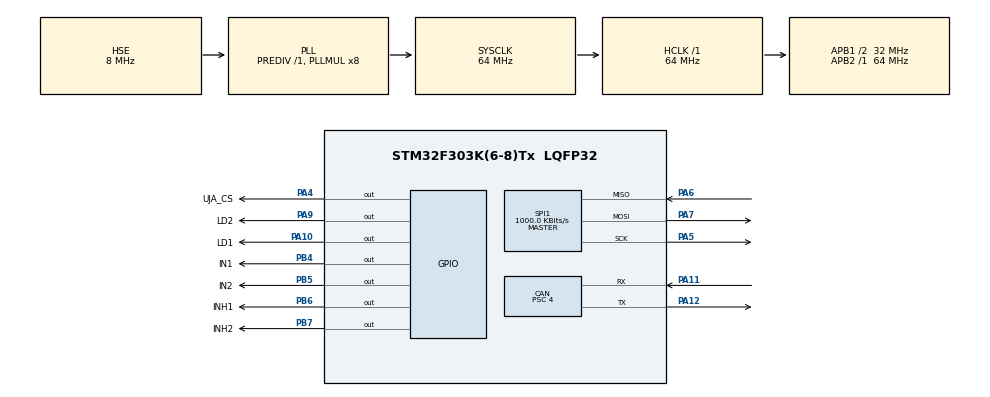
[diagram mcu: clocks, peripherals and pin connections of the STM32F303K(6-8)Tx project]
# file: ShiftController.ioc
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Mcu.Family=STM32F3
PA6.Mode=Full_Duplex_Master
VP_SYS_VS_tim6.Mode=TIM6
RCC.CortexFreq_Value=64000000
PF0\ /\ OSC_IN.Mode=HSE-External-Oscillator
SPI1.VirtualType=VM_MASTER
NVIC.CAN_RX0_IRQn=true\:5\:0\:false\:false\:true\:true\:true\:true
RCC.SYSCLKSourceVirtual=RCC_SYSCLKSOURCE_PLLCLK
PB7.GPIO_FM7=SYSCFG_CFGR1_I2C_PB7_FMP
PA11.Mode=CAN_Activate
PB6.GPIO_Label=INH1
CAN.SJW=CAN_SJW_2TQ
NVIC.TIM6_DAC1_IRQn=true\:0\:0\:false\:false\:true\:false\:false\:true
ProjectManager.StackSize=0x400
VP_FREERTOS_VS_CMSIS_V2.Mode=CMSIS_V2
PA12.Signal=CAN_TX
CAN.Prescaler=4
SPI1.Direction=SPI_DIRECTION_2LINES
RCC.HCLKFreq_Value=64000000
RCC.APB2TimFreq_Value=64000000
PB6.Signal=GPIO_Output
SPI1.CalculateBaudRate=1000.0 KBits/s
RCC.AHBFreq_Value=64000000
RCC.HSE_VALUE=8000000
PB3.Mode=JTAG_4_pins
PA15.Mode=JTAG_4_pins
RCC.PLLMUL=RCC_PLL_MUL8
PA14.Mode=JTAG_4_pins
SPI1.DataSize=SPI_DATASIZE_8BIT
PA10.GPIO_Label=LD1
PB7.Signal=GPIO_Output
CAN.CalculateTimeQuantum=125.0
FREERTOS.configTOTAL_HEAP_SIZE=4200
PB7.GPIO_Label=INH2
Mcu.Package=LQFP32
PA6.Signal=SPI1_MISO
NVIC.TimeBase=TIM6_DAC1_IRQn
PB6.GPIO_FM6=SYSCFG_CFGR1_I2C_PB6_FMP
NVIC.TimeBaseIP=TIM6
PA10.Signal=GPIO_Output
PA15.Signal=SYS_JTDI
PB5.GPIO_Speed=GPIO_SPEED_FREQ_HIGH
PB5.GPIO_Label=IN2
RCC.APB1TimFreq_Value=64000000
SPI1.BaudRatePrescaler=SPI_BAUDRATEPRESCALER_64
PA4.GPIO_Label=UJA_CS
PB4.Signal=GPIO_Output
PA5.Mode=Full_Duplex_Master
PB7.GPIO_Speed=GPIO_SPEED_FREQ_HIGH
PB7.GPIO_PuPd=GPIO_PULLDOWN
RCC.PLLSourceVirtual=RCC_PLLSOURCE_HSE
NVIC.CAN_RX1_IRQn=true\:5\:0\:false\:false\:true\:true\:true\:true
FREERTOS.Tasks01=Shift,24,128,StartShift,Default,NULL,Dynamic,NULL,NULL;FeedWDG,40,128,StartFeedWDG,Default,NULL,Dynamic,NULL,NULL
PA7.Mode=Full_Duplex_Master
CAN.ABOM=ENABLE
CAN.CalculateBaudRate=1000000
PA9.GPIO_Label=LD2
PB6.GPIO_PuPd=GPIO_PULLDOWN
SPI1.CLKPhase=SPI_PHASE_2EDGE
RCC.APB1CLKDivider=RCC_HCLK_DIV2
CAN.CalculateTimeBit=1000.00
PA13.Signal=SYS_JTMS-SWDIO
CAN.BS2=CAN_BS2_2TQ
CAN.BS1=CAN_BS1_5TQ
ProjectManager.TargetToolchain=STM32CubeIDE
PA9.Signal=GPIO_Output
PB4.GPIO_PuPd=GPIO_PULLDOWN
PF1\ /\ OSC_OUT.Signal=RCC_OSC_OUT
PA5.Signal=SPI1_SCK
board=custom
NVIC.SPI1_IRQn=true\:5\:0\:false\:false\:true\:true\:true\:true
PB4.GPIO_Speed=GPIO_SPEED_FREQ_HIGH
RCC.APB2Freq_Value=64000000
PF0\ /\ OSC_IN.Signal=RCC_OSC_IN
PB4.GPIO_Label=IN1
SPI1.Mode=SPI_MODE_MASTER
PA13.Mode=JTAG_4_pins
Mcu.Name=STM32F303K(6-8)Tx
PB3.Signal=SYS_JTDO-TRACESWO
PA4.Signal=GPIO_Output
RCC.SYSCLKFreq_VALUE=64000000
PB5.Signal=GPIO_Output
PA12.Mode=CAN_Activate
PB5.GPIO_PuPd=GPIO_PULLDOWN
PA11.Signal=CAN_RX
PA14.Signal=SYS_JTCK-SWCLK
ProjectManager.HeapSize=0x200
RCC.HSI_VALUE=8000000
NVIC.PriorityGroup=NVIC_PRIORITYGROUP_4
PB6.GPIO_Speed=GPIO_SPEED_FREQ_HIGH
RCC.APB1Freq_Value=32000000
PF1\ /\ OSC_OUT.Mode=HSE-External-Oscillator
PA7.Signal=SPI1_MOSI

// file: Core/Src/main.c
/* USER CODE BEGIN Header */
/**
  ******************************************************************************
  * @file           : main.c
  * @brief          : Main program body
  ******************************************************************************
  * @attention
  *
  * <h2><center>&copy; Copyright (c) 2022 STMicroelectronics.
  * All rights reserved.</center></h2>
  *
  * This software component is licensed by ST under BSD 3-Clause license,
  * the "License"; You may not use this file except in compliance with the
  * License. You may obtain a copy of the License at:
  *                        opensource.org/licenses/BSD-3-Clause
  *
  ******************************************************************************
  */
/* USER CODE END Header */
#include "main.h"
#include "cmsis_os.h"

/* USER CODE BEGIN Includes */
//For sprintf and memcpy
#include "string.h"
//For atoi
#include "stdlib.h"
//For ceil()
#include "math.h"

/* USER CODE END Includes */

/* USER CODE BEGIN PTD */
typedef StaticTask_t osStaticThreadDef_t;
/* USER CODE END PTD */

/* USER CODE BEGIN PD */
//UJA Register Definitions

#define UJA_REG_WDGANDSTATUS 0
#define UJA_REG_MODECONTROL 1
#define UJA_REG_INTCON 2
#define UJA_REG_INTREAD 3

//WD_and_Status register
//RO
#define UJA_RO_RW 0
#define UJA_RO_R 1

//WMC
#define UJA_WMC_WND 0
#define UJA_WMC_TO 1

//NWP
#define UJA_NWP_8 0
#define UJA_NWP_16 1
#define UJA_NWP_32 2
#define UJA_NWP_64 3
#define UJA_NWP_128 4
#define UJA_NWP_256 5
#define UJA_NWP_1024 6
#define UJA_NWP_4096 7

//Mode_Control register
#define UJA_MC_STBY 0
#define UJA_MC_SLP 1
#define UJA_MC_V2OFF 2
#define UJA_MC_V2ON 3

//Int_Control register
#define UJA_V1UIE_OFF 0
#define UJA_V1UIE_ON 1

#define UJA_V2UIE_OFF 0
#define UJA_V2UIE_ON 1

//Message struct parameter
#define MSG_ENABLED 1
#define MSG_DISABLED 0

//CAN Output Frame bits
#define CAN_TXFRAME0_SHUTDOWN 1
#define CAN_TXFRAME0_BIT2 1<<1
/* USER CODE END PD */

CAN_HandleTypeDef hcan;

SPI_HandleTypeDef hspi1;

/* Definitions for Shift */
osThreadId_t ShiftHandle;
const osThreadAttr_t Shift_attributes = {
  .name = "Shift",
  .stack_size = 128 * 4,
  .priority = (osPriority_t) osPriorityNormal,
};
/* Definitions for FeedWDG */
osThreadId_t FeedWDGHandle;
const osThreadAttr_t FeedWDG_attributes = {
  .name = "FeedWDG",
  .stack_size = 128 * 4,
  .priority = (osPriority_t) osPriorityHigh,
};
/* USER CODE BEGIN PV */
struct message
{
	uint32_t id;
	uint8_t  bit;
	uint8_t length;
	int32_t value;
	uint8_t enabled;
};

//Create array of message structs to hold our filter information
struct message messageArray[4];

//Define starting filter array used on startup
const struct message defaultMessageArray[4] =
{
		//{ 0x370,   0,  16,   -1,  MSG_ENABLED  },  //Engine RPM
		{ 0x2C2,   0,   16,   -1,  MSG_ENABLED  },  //Upshift
		{ 0x2C2,  32,   16,   -1,  MSG_ENABLED  },  //Downshift
		{ 0x2C4,   0,   16,   -1,  MSG_ENABLED  },  //NeutralReq
		{ 0x2C6,   0,  32,   -1,  MSG_ENABLED  }   //Engine RPM
};

uint8_t can_rx_data[8];
CAN_RxHeaderTypeDef can_rx_header;

uint8_t can_tx_data[8] = {0, 0, 0, 0, 0, 0, 0, 0};
CAN_TxHeaderTypeDef can_tx_header = {0x200, 0, CAN_ID_STD, CAN_RTR_DATA, 8};

uint8_t uart_rec_buff[24];
char uart_tx_buff[128];

int8_t cmdcharbuffindex = 0;
uint8_t cmdbuff[20][24];
int8_t cmdbuffindex = 0;

uint8_t processingcommand = 0;
uint8_t cmdlen = 0;

const uint8_t WD_SETUP = (UJA_REG_WDGANDSTATUS << 5) | (UJA_RO_RW << 4) | (UJA_WMC_WND << 3) | (UJA_NWP_1024);
/* USER CODE END PV */

void SystemClock_Config(void);
static void MX_GPIO_Init(void);
static void MX_CAN_Init(void);
static void MX_SPI1_Init(void);
void StartShift(void *argument);
void StartFeedWDG(void *argument);

/* USER CODE BEGIN PFP */
void DebugPrint(char *msg);
void Init_SBC(void);
void ConfigureCANFilters(struct message * messageArray, uint8_t size);
void Init_CAN(void);
void ClearCANBuffers(void);
/* USER CODE END PFP */

/* USER CODE BEGIN 0 */

//Initializes SBC
void Init_SBC(void)
{
	uint8_t txdata[2];
	uint8_t rxdata[2];

	//Force SBC in standby mode
	txdata[0] = (UJA_REG_MODECONTROL << 5) | (UJA_RO_RW << 4) | (UJA_MC_STBY << 2);
	txdata[1] = 0;
	HAL_GPIO_WritePin(UJA_CS_GPIO_Port, UJA_CS_Pin, 0);
	HAL_SPI_TransmitReceive(&hspi1, txdata, rxdata, 2, 100);
	HAL_GPIO_WritePin(UJA_CS_GPIO_Port, UJA_CS_Pin, 1);

	//Setup WDG and Status register
	txdata[0] = WD_SETUP;
	txdata[1] = 0;
	HAL_GPIO_WritePin(UJA_CS_GPIO_Port, UJA_CS_Pin, 0);
	HAL_SPI_TransmitReceive(&hspi1, txdata, rxdata, 2, 100);
	HAL_GPIO_WritePin(UJA_CS_GPIO_Port, UJA_CS_Pin, 1);

	//Set normal mode and enable CAN voltage
	txdata[0] = (UJA_REG_MODECONTROL << 5) | (UJA_RO_RW << 4) | (UJA_MC_V2ON << 2);
	txdata[1] = 0;
	HAL_GPIO_WritePin(UJA_CS_GPIO_Port, UJA_CS_Pin, 0);
	HAL_SPI_TransmitReceive(&hspi1, txdata, rxdata, 2, 100);
	HAL_GPIO_WritePin(UJA_CS_GPIO_Port, UJA_CS_Pin, 1);
}

//Procedurally generates and sets CAN Filter configurations from the message[] struct array config
void ConfigureCANFilters(struct message * messageArray, uint8_t size)
{
	uint32_t configuredIDs[size];
	int uniques = 0;
	for (int i = 0; i < size; i++)
	{
		struct message thismessage = messageArray[i];

		//Check if this ID already configured
		int create = 1;
		for (int j = 0; j < size; j++)
		{
			if (configuredIDs[j] == thismessage.id)
			{
				create = 0;
			}
		}
		if (create == 1 && thismessage.enabled)
		{
			//Add this ID to the list of already configured ID's to skip duplicates
			configuredIDs[uniques] = thismessage.id;
			CAN_FilterTypeDef filter;

			//This bit shifting was a massive PITA to figure out... see page 1092 of the RM for reasoning
			filter.FilterIdHigh = ((thismessage.id << 5)  | (thismessage.id >> (32 - 5))) & 0xFFFF;
			filter.FilterIdLow = (thismessage.id >> (11 - 3)) & 0xFFF8;

			//Masks set to full rank to check every bit against ID
			filter.FilterMaskIdHigh = 0xFFFF;
			filter.FilterMaskIdLow = 0xFFFF;

			//Filter options
			filter.FilterScale = CAN_FILTERSCALE_32BIT;
			filter.FilterActivation = ENABLE;
			filter.FilterMode = CAN_FILTERMODE_IDMASK;
			filter.FilterFIFOAssignment = CAN_FILTER_FIFO0;

			//Set filter bank to the current count of uniques
			filter.FilterBank = uniques;

			//Finally pass filter to HAL
			HAL_CAN_ConfigFilter(&hcan, &filter);
			uniques++;
		}
	}
}

void ClearCANBuffers(void)
{
	for (int i = 0; i < 16; i++) {
		messageArray[i].value = -1;
	}
}

void Init_CAN(void)
{
	//Configure all receive filters from the config array
	ConfigureCANFilters(messageArray, sizeof(messageArray) / sizeof(struct message));

	//Start CAN operation
	HAL_CAN_Start(&hcan);

	//Enable Message Pending IRQ
	HAL_CAN_ActivateNotification(&hcan, CAN_IT_RX_FIFO0_MSG_PENDING);

	//Start receiving - don't think we need this here
	HAL_CAN_GetRxMessage(&hcan, CAN_RX_FIFO0, &can_rx_header, can_rx_data);
}
/* USER CODE END 0 */

int main(void)
{

  /* MCU Configuration--------------------------------------------------------*/

  /* Reset of all peripherals, Initializes the Flash interface and the Systick. */
  HAL_Init();

  /* Configure the system clock */
  SystemClock_Config();

  /* Initialize all configured peripherals */
  MX_GPIO_Init();
  MX_CAN_Init();
  MX_SPI1_Init();
  /* USER CODE BEGIN 2 */

	Init_SBC();

	//Load default message configuration
	//NOTE: This operation takes approximately 100ms!!!!!
	memcpy(&messageArray, &defaultMessageArray, sizeof(messageArray));

	//Initialize CAN and all filters
	Init_CAN();
  /* USER CODE END 2 */

  /* Init scheduler */
  osKernelInitialize();

  /* Create the thread(s) */
  /* creation of Shift */
  ShiftHandle = osThreadNew(StartShift, NULL, &Shift_attributes);

  /* creation of FeedWDG */
  FeedWDGHandle = osThreadNew(StartFeedWDG, NULL, &FeedWDG_attributes);

  /* Start scheduler */
  osKernelStart();

  /* We should never get here as control is now taken by the scheduler */
  /* Infinite loop */
  while (1)
  {

  }
}

void SystemClock_Config(void)
{
  RCC_OscInitTypeDef RCC_OscInitStruct = {0};
  RCC_ClkInitTypeDef RCC_ClkInitStruct = {0};

  /** Initializes the RCC Oscillators according to the specified parameters
  * in the RCC_OscInitTypeDef structure.
  */
  RCC_OscInitStruct.OscillatorType = RCC_OSCILLATORTYPE_HSE;
  RCC_OscInitStruct.HSEState = RCC_HSE_ON;
  RCC_OscInitStruct.HSEPredivValue = RCC_HSE_PREDIV_DIV1;
  RCC_OscInitStruct.HSIState = RCC_HSI_ON;
  RCC_OscInitStruct.PLL.PLLState = RCC_PLL_ON;
  RCC_OscInitStruct.PLL.PLLSource = RCC_PLLSOURCE_HSE;
  RCC_OscInitStruct.PLL.PLLMUL = RCC_PLL_MUL8;
  if (HAL_RCC_OscConfig(&RCC_OscInitStruct) != HAL_OK)
  {
    Error_Handler();
  }
  /** Initializes the CPU, AHB and APB buses clocks
  */
  RCC_ClkInitStruct.ClockType = RCC_CLOCKTYPE_HCLK|RCC_CLOCKTYPE_SYSCLK
                              |RCC_CLOCKTYPE_PCLK1|RCC_CLOCKTYPE_PCLK2;
  RCC_ClkInitStruct.SYSCLKSource = RCC_SYSCLKSOURCE_PLLCLK;
  RCC_ClkInitStruct.AHBCLKDivider = RCC_SYSCLK_DIV1;
  RCC_ClkInitStruct.APB1CLKDivider = RCC_HCLK_DIV2;
  RCC_ClkInitStruct.APB2CLKDivider = RCC_HCLK_DIV1;

  if (HAL_RCC_ClockConfig(&RCC_ClkInitStruct, FLASH_LATENCY_2) != HAL_OK)
  {
    Error_Handler();
  }
}

static void MX_CAN_Init(void)
{

  hcan.Instance = CAN;
  hcan.Init.Prescaler = 4;
  hcan.Init.Mode = CAN_MODE_NORMAL;
  hcan.Init.SyncJumpWidth = CAN_SJW_2TQ;
  hcan.Init.TimeSeg1 = CAN_BS1_5TQ;
  hcan.Init.TimeSeg2 = CAN_BS2_2TQ;
  hcan.Init.TimeTriggeredMode = DISABLE;
  hcan.Init.AutoBusOff = ENABLE;
  hcan.Init.AutoWakeUp = DISABLE;
  hcan.Init.AutoRetransmission = DISABLE;
  hcan.Init.ReceiveFifoLocked = DISABLE;
  hcan.Init.TransmitFifoPriority = DISABLE;
  if (HAL_CAN_Init(&hcan) != HAL_OK)
  {
    Error_Handler();
  }

}

static void MX_SPI1_Init(void)
{

  /* SPI1 parameter configuration*/
  hspi1.Instance = SPI1;
  hspi1.Init.Mode = SPI_MODE_MASTER;
  hspi1.Init.Direction = SPI_DIRECTION_2LINES;
  hspi1.Init.DataSize = SPI_DATASIZE_8BIT;
  hspi1.Init.CLKPolarity = SPI_POLARITY_LOW;
  hspi1.Init.CLKPhase = SPI_PHASE_2EDGE;
  hspi1.Init.NSS = SPI_NSS_SOFT;
  hspi1.Init.BaudRatePrescaler = SPI_BAUDRATEPRESCALER_64;
  hspi1.Init.FirstBit = SPI_FIRSTBIT_MSB;
  hspi1.Init.TIMode = SPI_TIMODE_DISABLE;
  hspi1.Init.CRCCalculation = SPI_CRCCALCULATION_DISABLE;
  hspi1.Init.CRCPolynomial = 7;
  hspi1.Init.CRCLength = SPI_CRC_LENGTH_DATASIZE;
  hspi1.Init.NSSPMode = SPI_NSS_PULSE_DISABLE;
  if (HAL_SPI_Init(&hspi1) != HAL_OK)
  {
    Error_Handler();
  }

}

static void MX_GPIO_Init(void)
{
  GPIO_InitTypeDef GPIO_InitStruct = {0};

  /* GPIO Ports Clock Enable */
  __HAL_RCC_GPIOF_CLK_ENABLE();
  __HAL_RCC_GPIOA_CLK_ENABLE();
  __HAL_RCC_GPIOB_CLK_ENABLE();

  /*Configure GPIO pin Output Level */
  HAL_GPIO_WritePin(GPIOA, UJA_CS_Pin|LD2_Pin|LD1_Pin, GPIO_PIN_RESET);

  /*Configure GPIO pin Output Level */
  HAL_GPIO_WritePin(GPIOB, IN1_Pin|IN2_Pin|INH1_Pin|INH2_Pin, GPIO_PIN_RESET);

  /*Configure GPIO pins : UJA_CS_Pin LD2_Pin LD1_Pin */
  GPIO_InitStruct.Pin = UJA_CS_Pin|LD2_Pin|LD1_Pin;
  GPIO_InitStruct.Mode = GPIO_MODE_OUTPUT_PP;
  GPIO_InitStruct.Pull = GPIO_NOPULL;
  GPIO_InitStruct.Speed = GPIO_SPEED_FREQ_LOW;
  HAL_GPIO_Init(GPIOA, &GPIO_InitStruct);

  /*Configure GPIO pins : IN1_Pin IN2_Pin INH1_Pin INH2_Pin */
  GPIO_InitStruct.Pin = IN1_Pin|IN2_Pin|INH1_Pin|INH2_Pin;
  GPIO_InitStruct.Mode = GPIO_MODE_OUTPUT_PP;
  GPIO_InitStruct.Pull = GPIO_PULLDOWN;
  GPIO_InitStruct.Speed = GPIO_SPEED_FREQ_HIGH;
  HAL_GPIO_Init(GPIOB, &GPIO_InitStruct);

  /**/
  HAL_I2CEx_EnableFastModePlus(SYSCFG_CFGR1_I2C_PB6_FMP);

  /**/
  HAL_I2CEx_EnableFastModePlus(SYSCFG_CFGR1_I2C_PB7_FMP);

}

/* USER CODE BEGIN 4 */
void HAL_CAN_RxFifo0MsgPendingCallback(CAN_HandleTypeDef *hcan)
{
	//Get the received message.
	HAL_CAN_GetRxMessage(hcan, CAN_RX_FIFO0, &can_rx_header, can_rx_data);

	//Parse received bytes using message array
	for(int i=0; i < sizeof(messageArray) / sizeof(struct message); i++)
	{
		if(messageArray[i].id == can_rx_header.StdId)
		{

			//Calculate which byte position to start at
			int bytepos = messageArray[i].bit / 8;

			//Calculate number of bytes that need to be checked
			int bytes = ceil(messageArray[i].length / (float)8);

			uint32_t finalval = 0;
			int j = 0;

			//Iterate through all bytes that must be read for this message
			for (int b = bytepos; b < bytepos + bytes; b++)
			{
				uint8_t tempval;
				//If on last byte we may need to truncate unneeded parts dependent on length of data
				if (b == bytepos + bytes - 1)
				{
					//We need a left shift and a right shift to extract the bits we want
					uint8_t byteoffset = (messageArray[i].length - ((bytes-1) * 8));
					uint8_t leftshift = 8 - (messageArray[i].bit - (bytepos * 8)) - byteoffset;
					uint8_t rightshift = 8 - byteoffset;
					tempval = (can_rx_data[b] << leftshift) >>  rightshift;
				}
				else
				{
					//Use the whole byte
					tempval = can_rx_data[b];
				}
				//Calculate the size of the next data section to find the required shift
				int nextsize = messageArray[i].length - ((j+1) * 8);

				//Limit it to 0
				if (nextsize < 0)
				{
					nextsize = 0;
				}
				finalval += tempval << nextsize;
				j++;
			}

			//Finally set final value into message array struct
			messageArray[i].value = finalval;
		}
	}
}

/* USER CODE END 4 */

void StartShift(void *argument)
{
  /* USER CODE BEGIN 5 */
	int shiftvalue=0;
  /* Infinite loop */
  for(;;)
  {
    if (messageArray[0].value==64001 && messageArray[1].value == 1 && messageArray[2].value == 1 && shiftvalue==0)
    {
    	HAL_GPIO_WritePin (INH1_GPIO_Port, INH1_Pin, 1);
    	HAL_GPIO_WritePin (INH2_GPIO_Port, INH2_Pin, 1);
    	HAL_GPIO_WritePin (IN1_GPIO_Port, IN1_Pin, 1);
    	HAL_GPIO_WritePin (IN2_GPIO_Port, IN2_Pin, 0);

    	osDelay(30);

    	HAL_GPIO_WritePin (INH1_GPIO_Port, INH1_Pin, 0);
    	HAL_GPIO_WritePin (INH2_GPIO_Port, INH2_Pin, 0);
    	HAL_GPIO_WritePin (IN1_GPIO_Port, IN1_Pin, 0);
    	HAL_GPIO_WritePin (IN2_GPIO_Port, IN2_Pin, 0);
    	shiftvalue=1;
    }

    if (messageArray[0].value == 1 && messageArray[1].value ==64001 && messageArray[2].value == 1 && messageArray[3].value<=10500 && shiftvalue==0)
    {
    	HAL_GPIO_WritePin (INH1_GPIO_Port, INH1_Pin, 1);
    	HAL_GPIO_WritePin (INH2_GPIO_Port, INH2_Pin, 1);
    	HAL_GPIO_WritePin (IN1_GPIO_Port, IN1_Pin, 0);
    	HAL_GPIO_WritePin (IN2_GPIO_Port, IN2_Pin, 1);

    	osDelay(30);

    	HAL_GPIO_WritePin (INH1_GPIO_Port, INH1_Pin, 0);
    	HAL_GPIO_WritePin (INH2_GPIO_Port, INH2_Pin, 0);
    	HAL_GPIO_WritePin (IN1_GPIO_Port, IN1_Pin, 0);
    	HAL_GPIO_WritePin (IN2_GPIO_Port, IN2_Pin, 0);
    	shiftvalue=2;
    }

    if (messageArray[0].value ==1 && messageArray[1].value == 1 && messageArray[2].value == 64001 && messageArray[3].value<=7000 && shiftvalue==0)
    {
    	HAL_GPIO_WritePin (INH1_GPIO_Port, INH1_Pin, 1);
		HAL_GPIO_WritePin (INH2_GPIO_Port, INH2_Pin, 1);
		HAL_GPIO_WritePin (IN1_GPIO_Port, IN1_Pin, 1);
		HAL_GPIO_WritePin (IN2_GPIO_Port, IN2_Pin, 0);

		osDelay(5);

		HAL_GPIO_WritePin (INH1_GPIO_Port, INH1_Pin, 0);
		HAL_GPIO_WritePin (INH2_GPIO_Port, INH2_Pin, 0);
		HAL_GPIO_WritePin (IN1_GPIO_Port, IN1_Pin, 0);
		HAL_GPIO_WritePin (IN2_GPIO_Port, IN2_Pin, 0);
    	shiftvalue=3;
    }

    if (messageArray[0].value ==1 && messageArray[1].value == 1 && messageArray[2].value == 1 && shiftvalue!=0)
    {
    	shiftvalue=0;
    }

  }
  /* USER CODE END 5 */
}

void StartFeedWDG(void *argument)
{
  /* USER CODE BEGIN StartFeedWDG */
  /* Infinite loop */
  for(;;)
  {
	  //600 milliseconds is in the lower end of the watchdog window as currently configured in the SBC.
		osDelay(600);
	  uint8_t rxdata[2];
	  uint8_t txdata[2];

	  txdata[0] = WD_SETUP;
		txdata[1] = 0;

		HAL_GPIO_WritePin(UJA_CS_GPIO_Port, UJA_CS_Pin, 0);
		HAL_SPI_TransmitReceive(&hspi1, txdata, rxdata, 2, 100);
		HAL_GPIO_WritePin(UJA_CS_GPIO_Port, UJA_CS_Pin, 1);

		//Toggle LED
		HAL_GPIO_TogglePin(LD1_GPIO_Port,LD1_Pin);
  }
  /* USER CODE END StartFeedWDG */
}

 /**
  * @brief  Period elapsed callback in non blocking mode
  * @note   This function is called  when TIM6 interrupt took place, inside
  * HAL_TIM_IRQHandler(). It makes a direct call to HAL_IncTick() to increment
  * a global variable "uwTick" used as application time base.
  * @param  htim : TIM handle
  * @retval None
  */
void HAL_TIM_PeriodElapsedCallback(TIM_HandleTypeDef *htim)
{
  if (htim->Instance == TIM6) {
    HAL_IncTick();
  }
}

void Error_Handler(void)
{
  __disable_irq();
  while (1)
  {
  }
}

/************************ (C) COPYRIGHT STMicroelectronics *****END OF FILE****/
